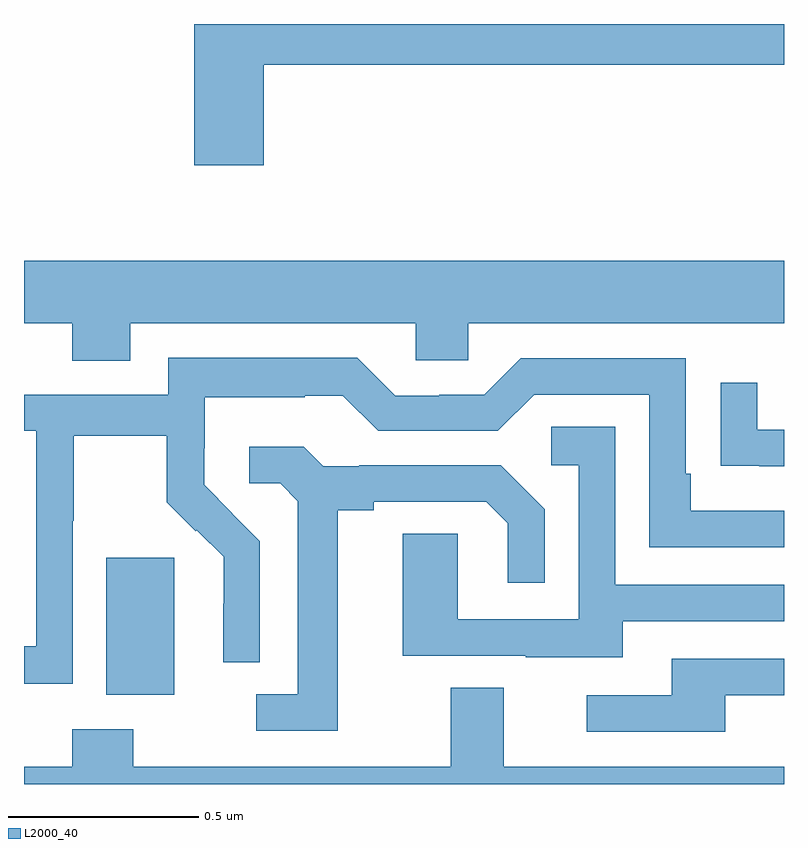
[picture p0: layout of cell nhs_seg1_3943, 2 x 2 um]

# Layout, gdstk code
import gdstk
lib = gdstk.Library(unit=1e-6, precision=1e-09)
def R(c, l, rs):  # rectangles x0, y0, x1, y1
    for r in rs: c.add(gdstk.rectangle(r[:2], r[2:], *l))
def P(c, l, *ps):  # polygons
    for p in ps: c.add(gdstk.Polygon(p, *l))
L2000_40 = (2000, 40)

nhs_seg1_3943 = lib.new_cell('nhs_seg1_3943')
R(nhs_seg1_3943, L2000_40, [(160.217,537.434,160.396,537.795)])
P(nhs_seg1_3943, L2000_40, [(160.631,539.092),(162,539.092),(162,539.199),(160.448,539.199),(160.448,538.827),(160.631,538.827)],
  [(160.279,538.412),(161.031,538.412),(161.031,538.314),(161.169,538.314),(161.169,538.412),(162,538.412),(162,538.576),(160,538.576),(160,538.412),(160.127,538.412),(160.127,538.313),(160.279,538.313)],
  [(160.128,537.892),(160.131,537.892),(160.131,538.116),(160.375,538.116),(160.375,537.941),(160.452,537.864),(160.455,537.867),(160.526,537.797),(160.526,537.674),(160.524,537.674),(160.524,537.52),(160.62,537.52),(160.62,537.838),(160.547,537.911),(160.548,537.912),(160.474,537.986),(160.474,538.083),(160.476,538.083),(160.476,538.217),(160.739,538.217),(160.739,538.221),(160.839,538.221),(160.932,538.128),(161.247,538.128),(161.343,538.224),(161.646,538.224),(161.646,537.822),(162,537.822),(162,537.918),(161.755,537.918),(161.755,538.015),(161.742,538.015),(161.742,538.32),(161.307,538.32),(161.211,538.224),(161.093,538.224),(161.093,538.221),(160.977,538.221),(160.877,538.321),(160.38,538.321),(160.38,538.224),(160,538.224),(160,538.128),(160.032,538.128),(160.032,537.561),(160,537.561),(160,537.463),(160.128,537.463)],
  [(162,538.131),(161.929,538.131),(161.929,538.255),(161.833,538.255),(161.833,538.036),(161.935,538.036),(161.935,538.035),(162,538.035)],
  [(161.575,537.627),(162,537.627),(162,537.723),(161.556,537.723),(161.556,538.139),(161.388,538.139),(161.388,538.038),(161.46,538.038),(161.46,537.633),(161.142,537.633),(161.142,537.857),(160.997,537.857),(160.997,537.537),(161.321,537.537),(161.321,537.533),(161.575,537.533)],
  [(160.825,537.92),(160.921,537.92),(160.921,537.942),(161.216,537.942),(161.273,537.885),(161.273,537.729),(161.37,537.729),(161.37,537.922),(161.254,538.038),(160.882,538.038),(160.882,538.035),(160.788,538.035),(160.736,538.087),(160.593,538.087),(160.593,537.99),(160.674,537.99),(160.721,537.943),(160.721,537.435),(160.611,537.435),(160.611,537.339),(160.825,537.339)],
  [(161.845,537.432),(162,537.432),(162,537.528),(161.705,537.528),(161.705,537.432),(161.481,537.432),(161.481,537.336),(161.845,537.336)],
  [(162,537.244),(161.263,537.244),(161.263,537.452),(161.123,537.452),(161.123,537.244),(160.287,537.244),(160.287,537.343),(160.127,537.343),(160.127,537.244),(160,537.244),(160,537.199),(162,537.199)])

lib.write_gds('nhs_seg1_3943.gds')
